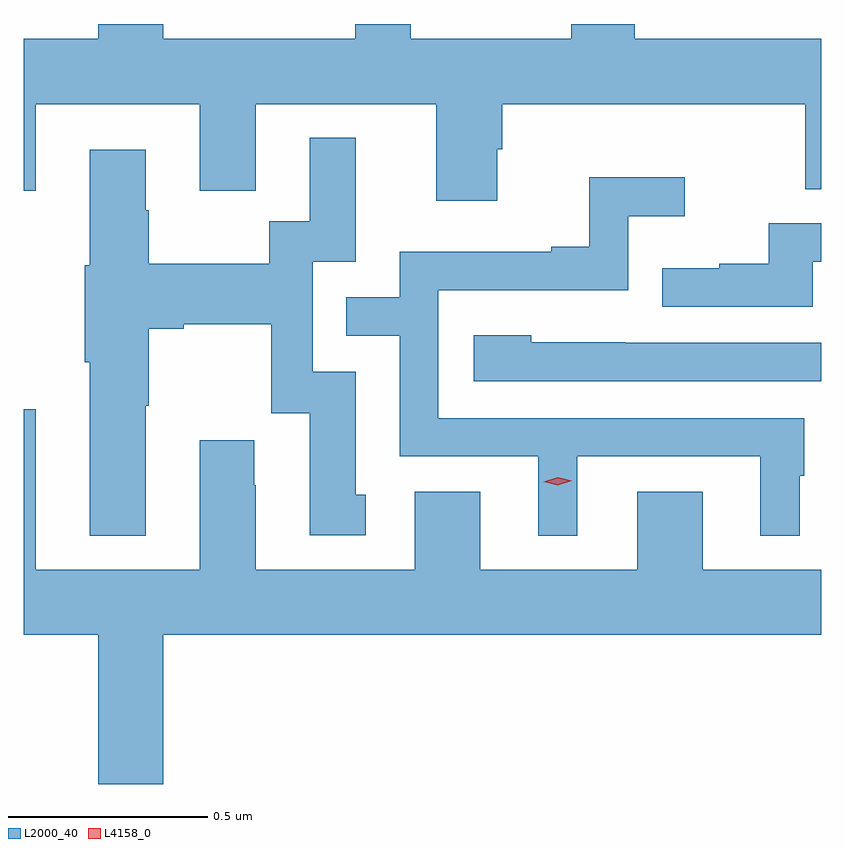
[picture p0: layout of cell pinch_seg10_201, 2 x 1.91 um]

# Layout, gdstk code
import gdstk
lib = gdstk.Library(unit=1e-6, precision=1e-09)
def P(c, l, *ps):  # polygons
    for p in ps: c.add(gdstk.Polygon(p, *l))
L2000_40 = (2000, 40)
L4158_0 = (4158, 0)

pinch_seg10_201 = lib.new_cell('pinch_seg10_201')
P(pinch_seg10_201, L2000_40, [(729.445,1258.911),(729.458,1258.911),(729.458,1259.024),(730.218,1259.024),(730.218,1258.81),(730.258,1258.81),(730.258,1259.188),(729.791,1259.188),(729.791,1259.225),(729.631,1259.225),(729.631,1259.188),(729.229,1259.188),(729.229,1259.225),(729.089,1259.225),(729.089,1259.188),(728.608,1259.188),(728.608,1259.225),(728.444,1259.225),(728.444,1259.188),(728.258,1259.188),(728.258,1258.806),(728.287,1258.806),(728.287,1259.024),(728.699,1259.024),(728.699,1258.806),(728.839,1258.806),(728.839,1259.024),(729.293,1259.024),(729.293,1258.782),(729.445,1258.782)],
  [(728.563,1258.267),(728.571,1258.267),(728.571,1258.46),(728.659,1258.46),(728.659,1258.472),(728.879,1258.472),(728.879,1258.248),(728.975,1258.248),(728.975,1257.942),(729.115,1257.942),(729.115,1258.044),(729.091,1258.044),(729.091,1258.353),(728.982,1258.353),(728.982,1258.629),(729.091,1258.629),(729.091,1258.939),(728.975,1258.939),(728.975,1258.73),(728.874,1258.73),(728.874,1258.624),(728.571,1258.624),(728.571,1258.758),(728.563,1258.758),(728.563,1258.909),(728.423,1258.909),(728.423,1258.62),(728.411,1258.62),(728.411,1258.376),(728.423,1258.376),(728.423,1257.941),(728.563,1257.941)],
  [(729.646,1258.14),(730.106,1258.14),(730.106,1257.941),(730.204,1257.941),(730.204,1258.092),(730.216,1258.092),(730.216,1258.236),(729.297,1258.236),(729.297,1258.557),(729.774,1258.557),(729.774,1258.742),(729.916,1258.742),(729.916,1258.841),(729.676,1258.841),(729.676,1258.666),(729.581,1258.666),(729.581,1258.653),(729.201,1258.653),(729.201,1258.539),(729.067,1258.539),(729.067,1258.443),(729.201,1258.443),(729.201,1258.14),(729.548,1258.14),(729.548,1257.941),(729.646,1257.941)],
  [(730.237,1258.628),(730.258,1258.628),(730.258,1258.725),(730.127,1258.725),(730.127,1258.624),(730.003,1258.624),(730.003,1258.612),(729.859,1258.612),(729.859,1258.515),(730.237,1258.515)],
  [(730.258,1258.425),(729.767,1258.425),(729.767,1258.426),(729.531,1258.426),(729.531,1258.444),(729.387,1258.444),(729.387,1258.329),(730.258,1258.329)],
  [(728.258,1258.258),(728.258,1257.692),(728.444,1257.692),(728.444,1257.318),(728.608,1257.318),(728.608,1257.692),(730.258,1257.692),(730.258,1257.856),(729.961,1257.856),(729.961,1258.051),(729.797,1258.051),(729.797,1257.856),(729.403,1257.856),(729.403,1258.051),(729.239,1258.051),(729.239,1257.856),(728.839,1257.856),(728.839,1258.067),(728.836,1258.067),(728.836,1258.18),(728.699,1258.18),(728.699,1257.856),(728.287,1257.856),(728.287,1258.258)])
P(pinch_seg10_201, L4158_0, [(729.597,1258.068),(729.562,1258.076),(729.561,1258.076),(729.562,1258.077),(729.597,1258.088),(729.632,1258.079),(729.632,1258.079),(729.632,1258.079)])

lib.write_gds('pinch_seg10_201.gds')
